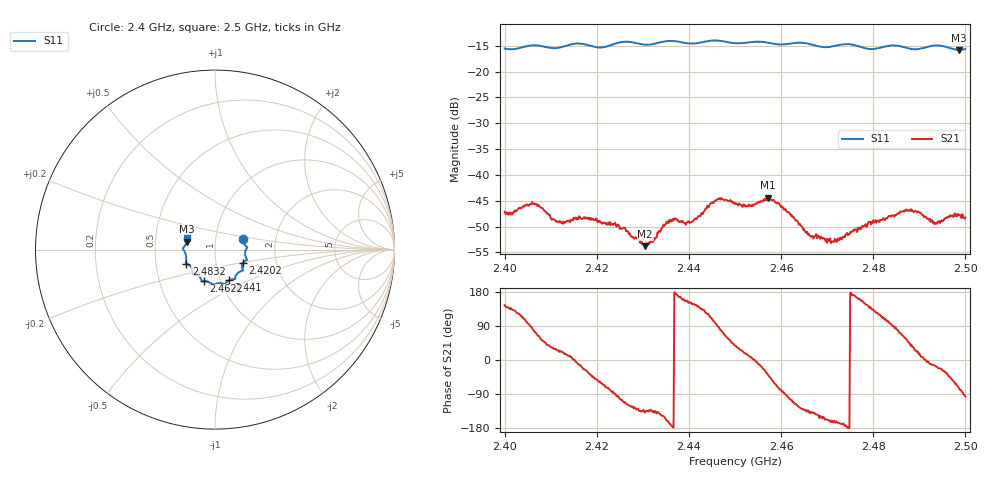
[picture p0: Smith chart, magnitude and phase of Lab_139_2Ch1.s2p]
# Hz S RI R 50
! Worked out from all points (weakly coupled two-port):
!   601 points, 2.4 GHz to 2.5 GHz, reference 50 ohm
!   highest |S21| = -44.42 dB at 2.4572 GHz (marker M1); lowest = -53.8 dB at 2.4305 GHz (marker M2)
!   lowest |S11| = -15.8 dB at 2.4987 GHz (marker M3), VSWR 1.39, Z = 36.4 + j3.37 ohm
!   |S11| at or under -10 dB: start of sweep to end of sweep
!   S12 and S22 are empty: the file has one direction only
!   S11 on the Smith chart (normalised r, x): 2.4 GHz: 1.36, +0.17; 2.4202 GHz: 1.35, -0.20; 2.441 GHz: 1.09, -0.39; 2.4622 GHz: 0.83, -0.30; 2.4832 GHz: 0.72, -0.12; 2.5 GHz: 0.73, +0.09
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2.4e9  0.1563 0.0598  -0.00357 0.00255  0 0  0 0
2.406333e9  0.1796 0.0131  0.00109 0.00512  0 0  0 0
2.411333e9  0.1674 -0.0229  0.00322 0.00153  0 0  0 0
2.416667e9  0.1772 -0.0583  0.00356 -0.00116  0 0  0 0
2.420167e9  0.1557 -0.0726  0.00203 -0.00284  0 0  0 0
2.424333e9  0.1539 -0.109  -0.000291 -0.00315  0 0  0 0
2.4305e9  0.1296 -0.1285  -0.00153 -0.00135  0 0  0 0
2.433333e9  0.1132 -0.1525  -0.00201 -0.00184  0 0  0 0
2.4365e9  0.1095 -0.1653  -0.00374 -0.000192  0 0  0 0
2.441e9  0.0766 -0.1708  -0.00305 0.00191  0 0  0 0
2.446167e9  0.0514 -0.1935  -2.46e-05 0.00577  0 0  0 0
2.45e9  0.0263 -0.1868  0.0041 0.00327  0 0  0 0
2.457167e9  -0.0201 -0.1896  0.00468 -0.00377  0 0  0 0
2.462167e9  -0.063 -0.1768  -0.00107 -0.00387  0 0  0 0
2.466667e9  -0.0767 -0.1664  -0.00191 -0.00169  0 0  0 0
2.471667e9  -0.1121 -0.1371  -0.00229 -0.000746  0 0  0 0
2.483167e9  -0.1596 -0.0781  -0.000893 0.00379  0 0  0 0
2.483333e9  -0.1603 -0.0777  -0.00063 0.00394  0 0  0 0
2.487667e9  -0.1599 -0.0514  0.0031 0.00334  0 0  0 0
2.4935e9  -0.1794 0.00489  0.00327 -0.00095  0 0  0 0
2.498667e9  -0.156 0.0451  0.000955 -0.00396  0 0  0 0
2.5e9  -0.1535 0.0631  -0.000413 -0.00384  0 0  0 0
